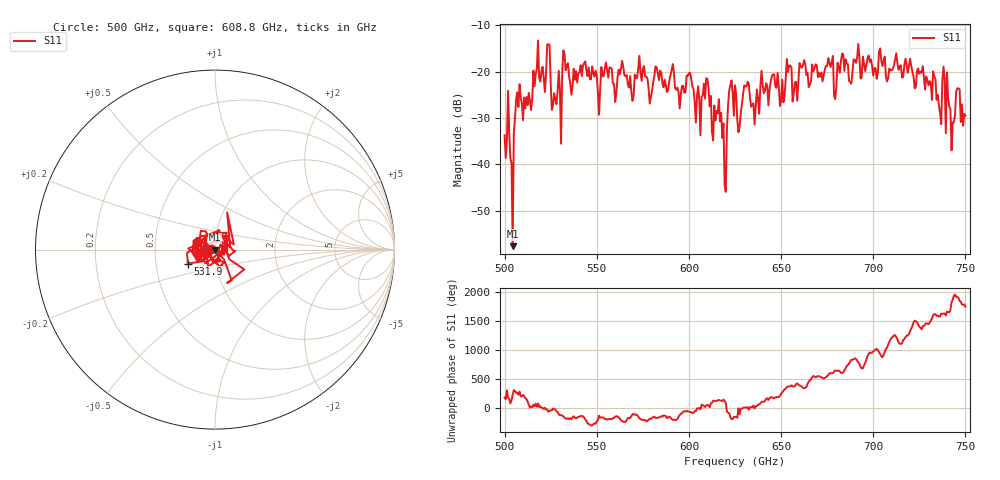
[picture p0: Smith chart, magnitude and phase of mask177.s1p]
!Created with skrf (http://scikit-rf.org).
# GHz S MA R 50.0
!freq magS11 angS11
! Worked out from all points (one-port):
!   401 points, 500 GHz to 750 GHz, reference 50 ohm
!   lowest |S11| = -57.6 dB at 504.4 GHz (marker M1), VSWR 1.00, Z = 49.9 - j0.0942 ohm
!   |S11| at or under -10 dB: start of sweep to end of sweep
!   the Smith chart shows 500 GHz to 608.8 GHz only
!   S11 on the Smith chart (normalised r, x): 500 GHz: 0.96, +0.00; 531.9 GHz: 0.73, -0.12; 608.8 GHz: 1.11, +0.02
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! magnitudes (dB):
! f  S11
! 500 GHz  -33.7
! 504.4 GHz  -57.6
! 507.5 GHz  -27.6
! 513.8 GHz  -26.3
! 516.9 GHz  -20.5
! 523.8 GHz  -14.1
! 526.9 GHz  -24.6
! 531.2 GHz  -20.2
! 531.9 GHz  -15.4
! 562.5 GHz  -20.5
! 579.4 GHz  -25.5
! 590.6 GHz  -19.6
! 593.8 GHz  -23.4
! 600 GHz  -20.3
! 605 GHz  -23.1
! 608.8 GHz  -25.8
! 617.5 GHz  -28.9
! 619.4 GHz  -44.3
! 622.5 GHz  -22.9
! 625 GHz  -22.9
! 627.5 GHz  -31.9
! 631.2 GHz  -23.2
! 635 GHz  -26.8
! 656.2 GHz  -26.4
! 687.5 GHz  -22.2
! 691.2 GHz  -17.0
! 718.8 GHz  -20.2
! 750 GHz  -29.5
